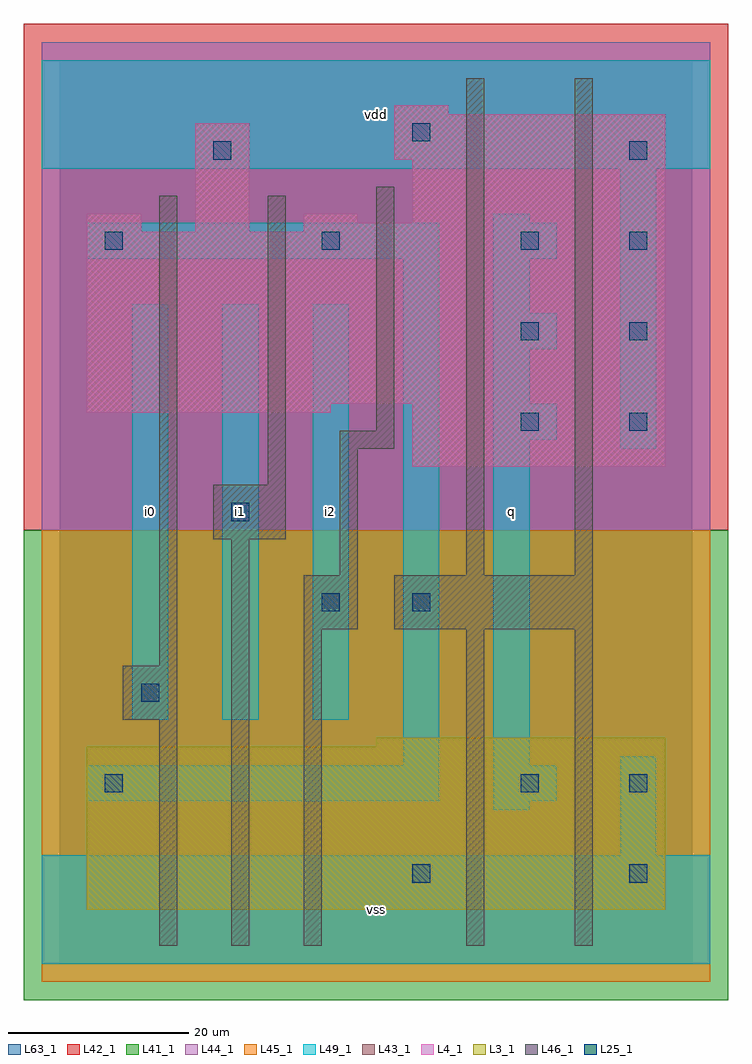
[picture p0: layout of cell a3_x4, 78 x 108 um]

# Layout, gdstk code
import gdstk
lib = gdstk.Library(unit=1e-6, precision=1e-09)
def R(c, l, rs):  # rectangles x0, y0, x1, y1
    for r in rs: c.add(gdstk.rectangle(r[:2], r[2:], *l))
def A(c, l, x, y, w, h, nx, ny, dx, dy):  # array of equal rectangles
    R(c, l, [(x+i*dx, y+j*dy, x+i*dx+w, y+j*dy+h) for i in range(nx) for j in range(ny)])
L3_1 = (3, 1)
L4_1 = (4, 1)
L25_1 = (25, 1)
L41_1 = (41, 1)
L42_1 = (42, 1)
L43_1 = (43, 1)
L44_1 = (44, 1)
L45_1 = (45, 1)
L46_1 = (46, 1)
L49_1 = (49, 1)
L63_1 = (63, 1)

a3_x4 = lib.new_cell('a3_x4')
R(a3_x4, L3_1, [(3,6,67,24), (35,24,67,25)])
R(a3_x4, L4_1, [(39,55,67,62), (3,61,30,62), (3,62,67,81), (3,81,9,83), (15,81,21,93), (27,81,67,82), (27,82,33,83), (39,82,67,89), (37,89,67,94), (37,94,43,95)])
A(a3_x4, L25_1, 51, 59, 2, 2, 1, 3, 0, 10)
A(a3_x4, L25_1, 63, 59, 2, 2, 1, 4, 0, 10)
R(a3_x4, L25_1, [(39,9,41,11), (63,9,65,11), (5,19,7,21), (51,19,53,21), (63,19,65,21), (9,29,11,31), (29,39,31,41), (39,39,41,41), (19,49,21,51), (5,79,7,81), (29,79,31,81), (17,89,19,91), (39,91,41,93)])
R(a3_x4, L41_1, [(-4,-4,74,48)])
R(a3_x4, L42_1, [(-4,48,74,104)])
R(a3_x4, L43_1, [(3,6,67,24), (35,24,67,25), (39,55,67,62), (3,61,30,62), (3,62,67,81), (3,81,9,83), (15,81,21,93), (27,81,67,82), (27,82,33,83), (39,82,67,89), (37,89,67,94), (37,94,43,95)])
R(a3_x4, L44_1, [(-2,48,72,102)])
R(a3_x4, L45_1, [(-2,-2,72,48)])
R(a3_x4, L46_1, [(11,2,13,27), (19,2,21,47), (27,2,29,37), (45,2,47,37), (57,2,59,37), (7,27,13,33), (11,33,13,85), (27,37,33,43), (37,37,59,43), (31,43,33,57), (45,43,47,98), (57,43,59,98), (17,47,25,53), (23,53,25,85), (31,57,37,59), (35,59,37,86)])
A(a3_x4, L49_1, 8, 27, 4, 46, 3, 1, 10, 0)
A(a3_x4, L49_1, 48, 58, 7, 4, 1, 3, 0, 10)
R(a3_x4, L49_1, [(-2,0,72,12), (62,12,66,23), (48,17,52,18), (3,18,42,22), (48,18,55,22), (38,22,42,78), (48,22,52,58), (62,57,66,88), (48,62,52,68), (48,72,52,78), (3,78,42,82), (48,82,52,83), (-2,88,72,100)])
R(a3_x4, L63_1, [(0,0,70,100)])
a3_x4.add(gdstk.Label('i0', (10,50), layer=49, texttype=1))
a3_x4.add(gdstk.Label('i2', (30,50), layer=49, texttype=1))
a3_x4.add(gdstk.Label('i1', (20,50), layer=49, texttype=1))
a3_x4.add(gdstk.Label('vss', (35,6), layer=49, texttype=1))
a3_x4.add(gdstk.Label('q', (50,50), layer=49, texttype=1))
a3_x4.add(gdstk.Label('vdd', (35,94), layer=49, texttype=1))

lib.write_gds('a3_x4.gds')
